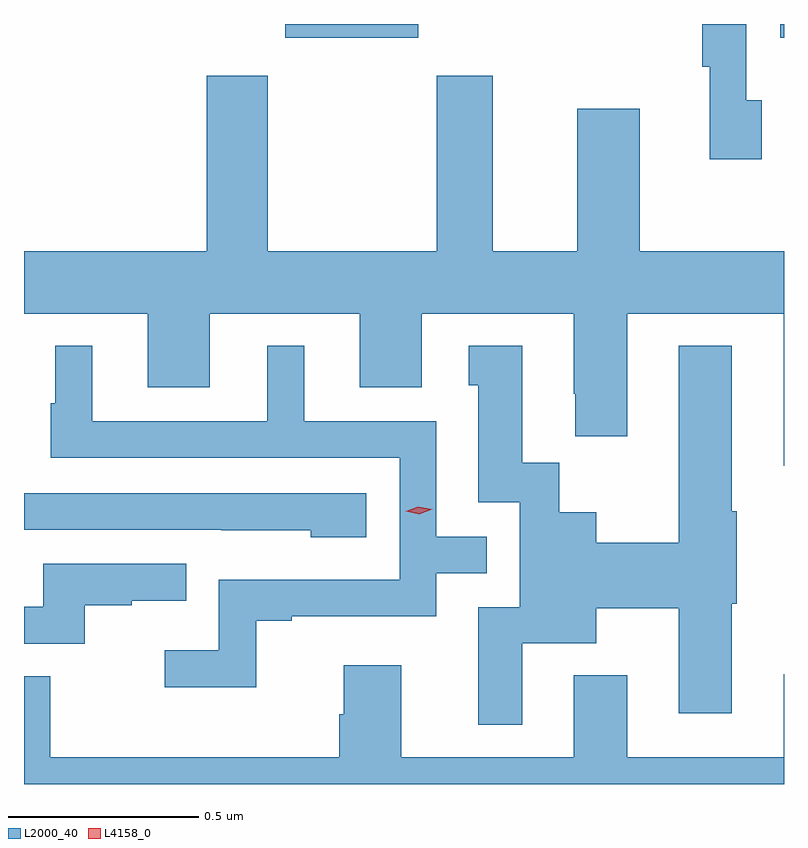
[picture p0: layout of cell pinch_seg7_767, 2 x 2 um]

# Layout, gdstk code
import gdstk
lib = gdstk.Library(unit=1e-6, precision=1e-09)
def R(c, l, rs):  # rectangles x0, y0, x1, y1
    for r in rs: c.add(gdstk.rectangle(r[:2], r[2:], *l))
def P(c, l, *ps):  # polygons
    for p in ps: c.add(gdstk.Polygon(p, *l))
L2000_40 = (2000, 40)
L4158_0 = (4158, 0)

pinch_seg7_767 = lib.new_cell('pinch_seg7_767')
R(pinch_seg7_767, L2000_40, [(356.048,1026.65,356.398,1026.686), (357.35,1026.65,357.36,1026.686)])
P(pinch_seg7_767, L2000_40, [(357.301,1026.486),(357.261,1026.486),(357.261,1026.686),(357.145,1026.686),(357.145,1026.574),(357.164,1026.574),(357.164,1026.33),(357.301,1026.33)],
  [(357.36,1026.088),(356.98,1026.088),(356.98,1026.463),(356.816,1026.463),(356.816,1026.088),(356.593,1026.088),(356.593,1026.55),(356.446,1026.55),(356.446,1026.088),(356.001,1026.088),(356.001,1026.55),(355.841,1026.55),(355.841,1026.088),(355.36,1026.088),(355.36,1025.924),(355.685,1025.924),(355.685,1025.73),(355.849,1025.73),(355.849,1025.924),(356.243,1025.924),(356.243,1025.73),(356.407,1025.73),(356.407,1025.924),(356.807,1025.924),(356.807,1025.713),(356.81,1025.713),(356.81,1025.601),(356.947,1025.601),(356.947,1025.924),(357.359,1025.924),(357.359,1025.523),(357.36,1025.523)],
  [(355.971,1025.115),(356.065,1025.115),(356.065,1025.127),(356.445,1025.127),(356.445,1025.241),(356.578,1025.241),(356.578,1025.337),(356.445,1025.337),(356.445,1025.64),(356.098,1025.64),(356.098,1025.839),(356,1025.839),(356,1025.64),(355.54,1025.64),(355.54,1025.839),(355.442,1025.839),(355.442,1025.688),(355.431,1025.688),(355.431,1025.544),(356.349,1025.544),(356.349,1025.223),(355.872,1025.223),(355.872,1025.038),(355.731,1025.038),(355.731,1024.94),(355.971,1024.94)],
  [(356.671,1025.057),(356.866,1025.057),(356.866,1025.149),(357.083,1025.149),(357.083,1024.872),(357.223,1024.872),(357.223,1025.16),(357.236,1025.16),(357.236,1025.404),(357.223,1025.404),(357.223,1025.839),(357.083,1025.839),(357.083,1025.321),(356.866,1025.321),(356.866,1025.401),(356.769,1025.401),(356.769,1025.531),(356.671,1025.531),(356.671,1025.839),(356.531,1025.839),(356.531,1025.736),(356.555,1025.736),(356.555,1025.427),(356.664,1025.427),(356.664,1025.151),(356.555,1025.151),(356.555,1024.842),(356.671,1024.842)],
  [(356.26,1025.451),(355.36,1025.451),(355.36,1025.355),(355.879,1025.355),(355.879,1025.354),(356.115,1025.354),(356.115,1025.336),(356.26,1025.336)],
  [(355.52,1025.157),(355.643,1025.157),(355.643,1025.168),(355.787,1025.168),(355.787,1025.265),(355.41,1025.265),(355.41,1025.153),(355.36,1025.153),(355.36,1025.055),(355.52,1025.055)],
  [(357.36,1024.975),(357.359,1024.975),(357.359,1024.756),(356.947,1024.756),(356.947,1024.972),(356.807,1024.972),(356.807,1024.756),(356.353,1024.756),(356.353,1024.999),(356.201,1024.999),(356.201,1024.869),(356.189,1024.869),(356.189,1024.756),(355.429,1024.756),(355.429,1024.97),(355.36,1024.97),(355.36,1024.686),(357.36,1024.686)])
P(pinch_seg7_767, L4158_0, [(356.4,1025.396),(356.365,1025.404),(356.365,1025.404),(356.365,1025.404),(356.398,1025.416),(356.434,1025.409),(356.434,1025.409),(356.434,1025.409)])

lib.write_gds('pinch_seg7_767.gds')
